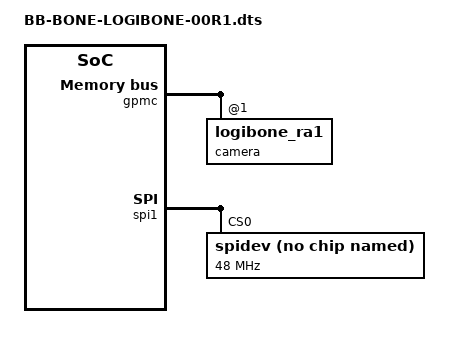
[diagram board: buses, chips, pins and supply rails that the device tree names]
/*
 * optargs=capemgr.disable_partno=BB-BONE-EMMC-2G
 * "arch/arm/boot/dts/am335x-boneblack.dts", find the section starting
 * with "&mmc2 {" and in section change  status = "okay" into "disabled".
 * do once : mmc dev 1
 *           mmc rstn 1
 * in uBoot or in uEnv and then delete
 */



/dts-v1/;
/plugin/;

/ {
	compatible = "ti,beaglebone", "ti,beaglebone-black";

	/* identification */
	part-number = "BB-BONE-LOGIBONE";
	version = "00R1";

	/* state the resources this cape uses */
	exclusive-use =
		/* the pin header uses */
		"P8.25",	/* gpmc: gpmc_ad0 */
		"P8.24",	/* gpmc: gpmc_ad1 */
		"P8.5",		/* gpmc: gpmc_ad2 */
		"P8.6",		/* gpmc: gpmc_ad3 */
		"P8.23",	/* gpmc: gpmc_ad4 */
		"P8.22",	/* gpmc: gpmc_ad5 */
		"P8.3",		/* gpmc: gpmc_ad6 */
		"P8.4",		/* gpmc: gpmc_ad7 */
		"P8.19",	/* gpmc: gpmc_ad8 */
		"P8.13",	/* gpmc: gpmc_ad9 */
		"P8.14",	/* gpmc: gpmc_ad10 */
		"P8.17",	/* gpmc: gpmc_ad11 */
		"P8.12",	/* gpmc: gpmc_ad12 */
		"P8.11",	/* gpmc: gpmc_ad13 */
		"P8.16",	/* gpmc: gpmc_ad14 */
		"P8.15",	/* gpmc: gpmc_ad15 */
		"P9.12",	/* gpmc: gpmc_ben1 */
		"P8.21",	/* gpmc: gpmc_csn1 */
		"P8.18",	/* gpmc: gpmc_clk */
		"P8.7",		/* gpmc: gpmc_advn_ale */
		"P8.8",		/* gpmc: gpmc_oen_ren */
		"P8.10",	/* gpmc: gpmc_wen */
		"P8.9",		/* gpmc: gpmc_ben0_cle */
		"P9.28",
		"P9.29",
		"P9.30",
		"P9.31",
		"gpmc",
		/* the reset pin */
		"eMMC_RSTn";

	#address-cells = <1>;
	#size-cells = <1>;

	fragment@0 {
		target = <&am33xx_pinmux>;
		__overlay__ {

			gpmc_pins: pinmux_gpmc_pins {
				pinctrl-single,pins = <
					0x000 0x30	/* gpmc_ad0.gpmc_ad0 MODE0 | INPUT | PULLUP */
					0x004 0x30	/* gpmc_ad1.gpmc_ad1 MODE0 | INPUT | PULLUP */
					0x008 0x30	/* gpmc_ad2.gpmc_ad2 MODE0 | INPUT | PULLUP */
					0x00C 0x30	/* gpmc_ad3.gpmc_ad3 MODE0 | INPUT | PULLUP */
					0x010 0x30	/* gpmc_ad4.gpmc_ad4 MODE0 | INPUT | PULLUP */
					0x014 0x30	/* gpmc_ad5.gpmc_ad5 MODE0 | INPUT | PULLUP */
					0x018 0x30	/* gpmc_ad6.gpmc_ad6 MODE0 | INPUT | PULLUP */
					0x01C 0x30	/* gpmc_ad7.gpmc_ad7 MODE0 | INPUT | PULLUP */
					0x020 0x30	/* gpmc_ad8.gpmc_ad8 MODE0 | INPUT | PULLUP */
					0x024 0x30	/* gpmc_ad9.gpmc_ad9 MODE0 | INPUT | PULLUP */
					0x028 0x30	/* gpmc_ad10.gpmc_ad10 MODE0 | INPUT | PULLUP */
					0x02C 0x30	/* gpmc_ad11.gpmc_ad11 MODE0 | INPUT | PULLUP */
					0x030 0x30	/* gpmc_ad12.gpmc_ad12 MODE0 | INPUT | PULLUP */
					0x034 0x30	/* gpmc_ad13.gpmc_ad13 MODE0 | INPUT | PULLUP */
					0x038 0x30	/* gpmc_ad14.gpmc_ad14 MODE0 | INPUT | PULLUP */
					0x03C 0x30	/* gpmc_ad15.gpmc_ad15 MODE0 | INPUT | PULLUP */
					0x080 0x08	/* gpmc_cscn1.gpmc_cscn1 MODE0 | OUTPUT */
					0x08C 0x28	/* gpmc_clk.gpmc_clk MODE0 | INPUT */
					0x090 0x08	/* gpmc_advn_ale.gpmc_advn_ale MODE0 | OUTPUT */
					0x094 0x08	/* gpmc_oen_ren.gpmc_oen_ren MODE0 | OUTPUT */
					0x098 0x08	/* gpmc_wen.gpmc_wen MODE0 | OUTPUT */
					0x09C 0x08	/* gpmc_ben0_cle.gpmc_ben0_cle MODE0 | OUTPUT */
					0x078 0x08	/* gpmc_ben1_cle.gpmc_ben1_cle MODE0 | OUTPUT */
				>;
			};

			fpga_config_pins: pinmux_fpga_config_pins {
				pinctrl-single,pins = <
					/* config clk and data */
					0x190 0x33    /* P9_31 = mcasp0_aclkx.spi1_sclk                 , INPUT_PULLUP | MODE3 */
					0x194 0x33    /* P9_29 = mcasp0_fsx.spi1_d0                     , INPUT_PULLUP  | MODE3 */
					0x198 0x13    /* P9_30 = mcasp0_axr0.spi1_d1                     , OUTPUT_PULLUP | MODE3 */
					0x19c 0x13    /* P9_28 = mcasp0_ahclkr.spi1_cs0                 , OUTPUT_PULLUP | MODE3 */

				>;
			};
		};
	};

	fragment@1 {
		target = <&gpmc>;
		depth = <1>;	/* only create devices on depth 1 */

		/* stupid warnings */
		#address-cells = <1>;
		#size-cells = <1>;

		__overlay__ {

			status = "okay";

			#address-cells = <2>;
			#size-cells = <1>;

			pinctrl-names = "default";
			pinctrl-0 = <&gpmc_pins>;




			/* chip select ranges */
			ranges = <1 0 0x01000000 0x1000000>;

			camera{
				compatible = "logibone_ra1";
				status = "okay";
				pinctrl-names = "default";
				pinctrl-0 = <&fpga_config_pins>;

				reset = <&rstctl 0 0>;
				reset-names = "eMMC_RSTn-LOGIBONE";

				reg = <1 0 0x01000000>;	/*CSn1*/

				bank-width = <2>;		/* GPMC_CONFIG1_DEVICESIZE(1) */

				/*gpmc,burst-write;*/
				/*gpmc,burst-read;*/
				/*gpmc,burst-wrap;*/
				gpmc,sync-read;		/* GPMC_CONFIG1_READTYPE_ASYNC */
				gpmc,sync-write;		/* GPMC_CONFIG1_WRITETYPE_ASYNC */
				gpmc,clk-activation-ns = <0>;	/* GPMC_CONFIG1_CLKACTIVATIONTIME(2) */
				gpmc,burst-length = <16>;	/* GPMC_CONFIG1_PAGE_LEN(2) */
				gpmc,mux-add-data = <2>;	/* GPMC_CONFIG1_MUXTYPE(2) */

				gpmc,sync-clk-ps = <20000>;	/* CONFIG2 */

				gpmc,cs-on-ns = <0>;
				gpmc,cs-rd-off-ns = <100>;
				gpmc,cs-wr-off-ns = <40>;

				gpmc,adv-on-ns = <0>;		/* CONFIG3 */
				gpmc,adv-rd-off-ns = <20>;
				gpmc,adv-wr-off-ns = <20>;

				gpmc,we-on-ns = <20>;		/* CONFIG4 */
				gpmc,we-off-ns = <40>;
				gpmc,oe-on-ns = <20>;
				gpmc,oe-off-ns = <100>;

				gpmc,page-burst-access-ns = <20>;	/* CONFIG 5 */
				gpmc,access-ns = <80>;
				gpmc,rd-cycle-ns = <120>;
				gpmc,wr-cycle-ns = <60>;
				gpmc,wr-access-ns = <40>;		/* CONFIG 6 */
				gpmc,wr-data-mux-bus-ns = <20>;

				/*gpmc,bus-turnaround-ns = <40>;*/		/* CONFIG6:3:0 = 4 */
				/*gpmc,cycle2cycle-samecsen;*/		/* CONFIG6:7 = 1 */
				/*gpmc,cycle2cycle-delay-ns = <40>;*/	/* CONFIG6:11:8 = 4 */

				/* not using dma engine yet, but we can get the channel number here */
				dmas = <&edma 20>;
				dma-names = "logibone";

				fpga,config {
					i2c-adapter = <&i2c2>;

					/* need it to stop the whinning */
					#address-cells = <1>;
					#size-cells = <0>;

					/* fake i2c device node */
					pca9534 {
						compatible = "logibone";
						reg = <0x24>;
					};
				};

			};

		};
	};

	fragment@2 {
        target = <&spi1>;
        __overlay__ {

            #address-cells     = <1>;
            #size-cells     = <0>;
            status            = "okay";
            pinctrl-names    = "default";
            pinctrl-0        = <&fpga_config_pins>;

            spidev@1{
                compatible           = "linux,spidev";
                reg               = <0>;
                spi-max-frequency = <48000000>;
            };
        };
    };

 };
